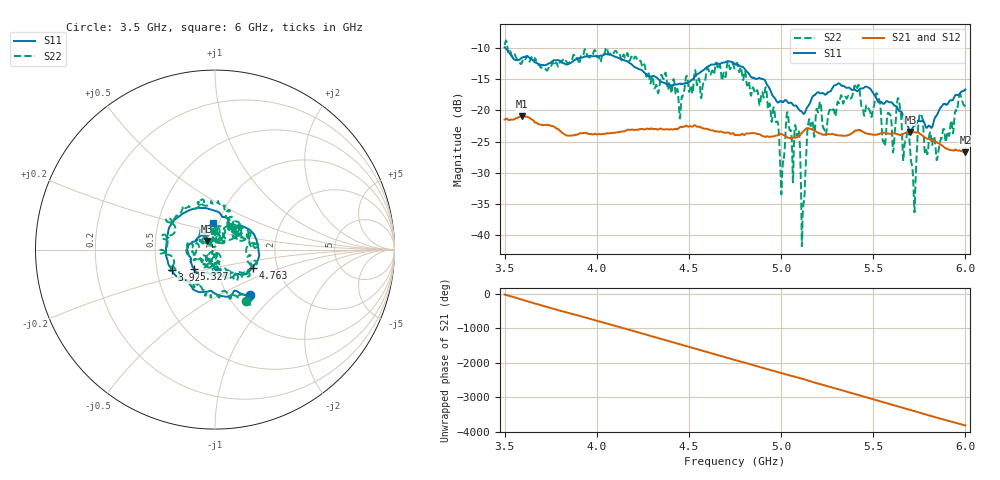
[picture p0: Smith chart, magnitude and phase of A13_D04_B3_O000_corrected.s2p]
! Created with skrf 1.9.0 (http://scikit-rf.org).
# Hz S RI R 50.0
!freq ReS11 ImS11 ReS21 ImS21 ReS12 ImS12 ReS22 ImS22
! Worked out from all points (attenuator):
!   1601 points, 3.5 GHz to 6 GHz, reference 50 ohm
!   highest |S21| = -20.97 dB at 3.592 GHz (marker M1); lowest = -26.7 dB at 6 GHz (marker M2)
!   lowest |S11| = -23.5 dB at 5.702 GHz (marker M3), VSWR 1.14, Z = 45.4 + j4.44 ohm
!   |S11| at or under -10 dB: 3.505 GHz to end of sweep
!   |S22| runs from -41.8 to -8.8 dB; largest |S21 - S12| = 0.0011
!   S11 on the Smith chart (normalised r, x): 3.5 GHz: 1.26, -0.72; 3.92 GHz: 0.60, -0.15; 4.763 GHz: 1.49, -0.32; 5.327 GHz: 0.77, -0.17; 6 GHz: 0.94, +0.28
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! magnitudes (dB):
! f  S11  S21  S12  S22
! 3.5 GHz  -9.9  -21.5  -21.5  -9.5
! 3.592 GHz  -11.6  -21.0  -21.0  -12.4
! 3.917 GHz  -11.5  -23.7  -23.6  -11.1
! 3.92 GHz  -11.5  -23.6  -23.6  -11.0
! 4.334 GHz  -15.0  -23.1  -23.0  -17.2
! 4.75 GHz  -12.5  -24.0  -23.9  -13.3
! 4.763 GHz  -12.6  -23.9  -23.9  -12.4
! 4.969 GHz  -18.2  -24.1  -24.0  -21.4
! 5.005 GHz  -18.5  -23.8  -23.8  -31.1
! 5.034 GHz  -18.6  -24.4  -24.3  -20.3
! 5.088 GHz  -19.4  -24.3  -24.2  -24.1
! 5.119 GHz  -20.4  -23.4  -23.3  -35.8
! 5.147 GHz  -19.3  -22.9  -22.8  -22.2
! 5.167 GHz  -18.0  -23.0  -23.0  -21.8
! 5.327 GHz  -16.0  -24.0  -23.9  -17.6
! 5.584 GHz  -18.7  -23.7  -23.7  -20.4
! 5.639 GHz  -20.0  -23.9  -23.8  -18.4
! 5.702 GHz  -23.5  -23.5  -23.5  -26.9
! 5.72 GHz  -22.5  -23.5  -23.5  -34.0
! 5.756 GHz  -21.8  -23.8  -23.7  -21.1
! 5.848 GHz  -20.6  -25.2  -25.1  -27.6
! 6 GHz  -16.6  -26.7  -26.6  -19.5
